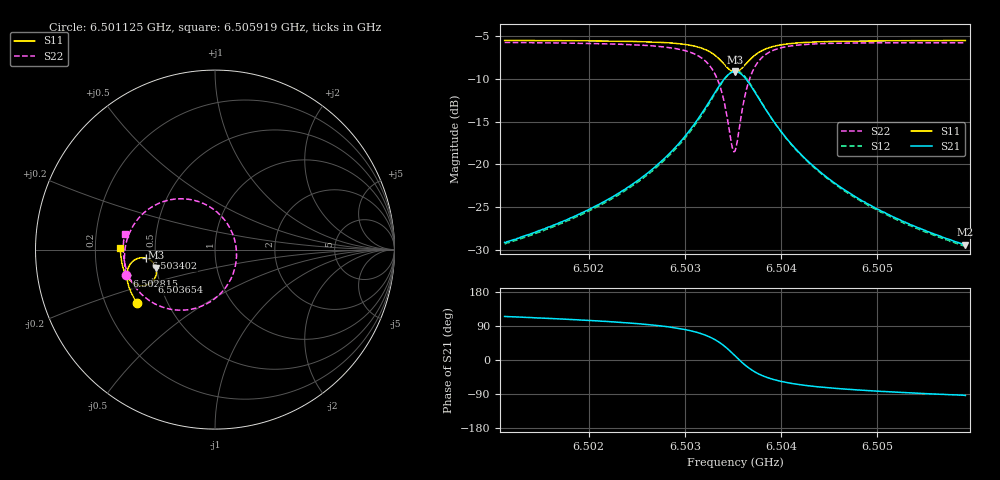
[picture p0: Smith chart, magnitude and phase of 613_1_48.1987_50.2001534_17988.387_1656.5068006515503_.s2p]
#  HZ  S  RI  R  50.00
! Rohde & Schwarz Vector Network Analyzer
! Rohde-Schwarz,ZNB20-2Port,1311601062101988,3.16
! Created: UTC 3/20/2024, 12:03:35 PM
! freq[Hz]  re:S11  im:S11  re:S21  im:S21  re:S12  im:S12  re:S22  im:S22
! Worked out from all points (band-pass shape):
!   401 points, 6.501125 GHz to 6.505919 GHz, reference 50 ohm
!   highest |S21| = -9.18 dB at 6.503522 GHz (marker M1); lowest = -29.3 dB at 6.505919 GHz (marker M2)
!   |S21| within 3 dB of the highest: 6.503283 GHz to 6.503762 GHz (478.7 kHz wide, 0.00736 % of centre)
!   lowest |S11| = -9.3 dB at 6.503522 GHz (marker M3), VSWR 2.05, Z = 24.8 - j5.65 ohm
!   |S11| at or under -10 dB: nowhere
!   |S22| runs from -18.5 to -5.8 dB; largest |S21 - S12| = 0.012
!   S11 on the Smith chart (normalised r, x): 6.501125 GHz: 0.34, -0.28; 6.502815 GHz: 0.33, -0.13; 6.503402 GHz: 0.44, -0.05; 6.503654 GHz: 0.45, -0.19; 6.505919 GHz: 0.31, +0.01
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6.5011252e9  -0.4345 -0.2984  -0.0148 0.0319  -0.013 0.032  -0.4938 -0.1399
6.5019281e9  -0.4679 -0.2374  -0.0141 0.0505  -0.0114 0.0499  -0.5045 -0.0517
6.5023835e9  -0.4831 -0.1957  -0.0104 0.0714  -0.00736 0.0703  -0.4994 0.0162
6.5027311e9  -0.4904 -0.1555  -0.000828 0.1014  0.0028 0.0989  -0.4781 0.0901
6.502815e9  -0.4908 -0.1438  0.00399 0.1121  0.00794 0.1092  -0.4673 0.1132
6.5030187e9  -0.486 -0.1097  0.0273 0.1473  0.031 0.143  -0.4191 0.1825
6.5031625e9  -0.4713 -0.0797  0.0655 0.1816  0.0685 0.1757  -0.3447 0.242
6.5033063e9  -0.4323 -0.0499  0.1494 0.2108  0.1503 0.2046  -0.1921 0.2833
6.5033543e9  -0.4105 -0.0452  0.1929 0.2093  0.1932 0.2037  -0.1158 0.2743
6.5034022e9  -0.3844 -0.0473  0.2429 0.1936  0.2433 0.1892  -0.0301 0.239
6.5034861e9  -0.3404 -0.0777  0.323 0.117  0.326 0.1129  0.098 0.0879
6.503522e9  -0.3294 -0.1005  0.3412 0.0671  0.3453 0.0616  0.1194 -0.00609
6.503546e9  -0.3262 -0.1174  0.3445 0.0313  0.3492 0.0247  0.1169 -0.0712
6.503582e9  -0.3284 -0.1421  0.3369 -0.0201  0.3412 -0.0292  0.0889 -0.1628
6.5036539e9  -0.3515 -0.1804  0.2889 -0.0983  0.2891 -0.1104  -0.0246 -0.2895
6.5037497e9  -0.3933 -0.2007  0.2084 -0.1426  0.2037 -0.1533  -0.1885 -0.3376
6.5039055e9  -0.4437 -0.1932  0.118 -0.1418  0.1108 -0.1476  -0.3527 -0.2923
6.5040733e9  -0.4734 -0.1721  0.0689 -0.1202  0.0623 -0.1229  -0.4325 -0.2236
6.504325e9  -0.4961 -0.1406  0.0353 -0.0926  0.0303 -0.0933  -0.4813 -0.1446
6.5046845e9  -0.5118 -0.102  0.0155 -0.068  0.0122 -0.0677  -0.5043 -0.0682
6.5051279e9  -0.5214 -0.06  0.00538 -0.0506  0.00298 -0.05  -0.511 -0.00244
6.5059189e9  -0.5266 0.00782  -0.00214 -0.034  -0.00334 -0.0333  -0.5041 0.0841
